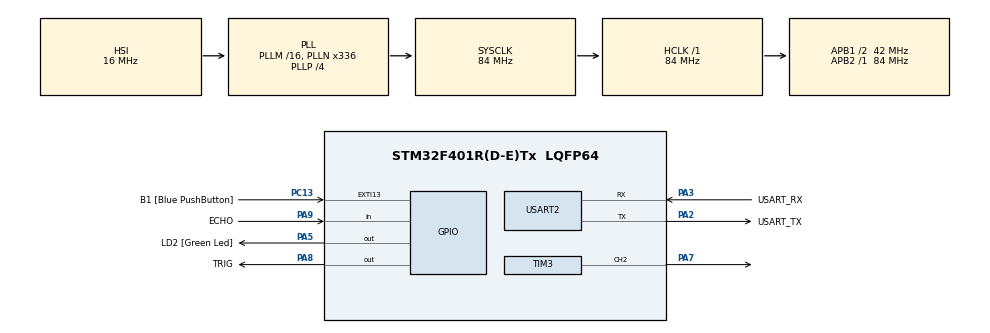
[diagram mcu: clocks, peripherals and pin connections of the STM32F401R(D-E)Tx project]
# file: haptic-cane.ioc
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Mcu.Family=STM32F4
Mcu.Name=STM32F401R(D-E)Tx
Mcu.Package=LQFP64
NVIC.PriorityGroup=NVIC_PRIORITYGROUP_0
PA13.GPIO_Label=TMS
PA13.Mode=Serial_Wire
PA13.Signal=SYS_JTMS-SWDIO
PA14.GPIO_Label=TCK
PA14.Mode=Serial_Wire
PA14.Signal=SYS_JTCK-SWCLK
PA2.GPIO_Label=USART_TX
PA2.GPIO_Mode=GPIO_MODE_AF_PP
PA2.GPIO_PuPd=GPIO_NOPULL
PA2.GPIO_Speed=GPIO_SPEED_FREQ_LOW
PA2.Mode=Asynchronous
PA2.Signal=USART2_TX
PA3.GPIO_Label=USART_RX
PA3.GPIO_Mode=GPIO_MODE_AF_PP
PA3.GPIO_PuPd=GPIO_NOPULL
PA3.GPIO_Speed=GPIO_SPEED_FREQ_LOW
PA3.Mode=Asynchronous
PA3.Signal=USART2_RX
PA5.GPIO_Label=LD2 [Green Led]
PA5.GPIO_Mode=GPIO_MODE_OUTPUT_PP
PA5.GPIO_PuPd=GPIO_NOPULL
PA5.GPIO_Speed=GPIO_SPEED_FREQ_LOW
PA5.Signal=GPIO_Output
PA7.Signal=S_TIM3_CH2
PA8.GPIO_Label=TRIG
PA8.Signal=GPIO_Output
PA9.GPIO_Label=ECHO
PA9.Signal=GPIO_Input
PB3.GPIO_Label=SWO
PB3.Signal=SYS_JTDO-SWO
PC13-ANTI_TAMP.GPIO_Label=B1 [Blue PushButton]
PC13-ANTI_TAMP.GPIO_ModeDefaultEXTI=GPIO_MODE_IT_FALLING
PC13-ANTI_TAMP.GPIO_PuPd=GPIO_NOPULL
PC13-ANTI_TAMP.Signal=GPXTI13
PC14-OSC32_IN.Mode=LSE-External-Oscillator
PC14-OSC32_IN.Signal=RCC_OSC32_IN
PC15-OSC32_OUT.Mode=LSE-External-Oscillator
PC15-OSC32_OUT.Signal=RCC_OSC32_OUT
PH0\ -\ OSC_IN.Mode=HSE-External-Clock-Source
PH0\ -\ OSC_IN.Signal=RCC_OSC_IN
PH1\ -\ OSC_OUT.Mode=HSE-External-Clock-Source
PH1\ -\ OSC_OUT.Signal=RCC_OSC_OUT
ProjectManager.HeapSize=0x200
ProjectManager.StackSize=0x400
ProjectManager.TargetToolchain=STM32CubeIDE
RCC.48MHZClocksFreq_Value=48000000
RCC.AHBFreq_Value=84000000
RCC.APB1CLKDivider=RCC_HCLK_DIV2
RCC.APB1Freq_Value=42000000
RCC.APB1TimFreq_Value=84000000
RCC.APB2Freq_Value=84000000
RCC.APB2TimFreq_Value=84000000
RCC.CortexFreq_Value=84000000
RCC.HCLKFreq_Value=84000000
RCC.HSE_VALUE=8000000
RCC.HSI_VALUE=16000000
RCC.PLLN=336
RCC.PLLP=RCC_PLLP_DIV4
RCC.PLLQ=7
RCC.SYSCLKFreq_VALUE=84000000
RCC.SYSCLKSource=RCC_SYSCLKSOURCE_PLLCLK
RCC.VCOOutputFreq_Value=336000000
SH.S_TIM3_CH2.0=TIM3_CH2,PWM Generation2 CH2
TIM3.Channel-PWM\ Generation2\ CH2=TIM_CHANNEL_2
TIM3.Period=33000-1
TIM3.Prescaler=2-1
TIM4.Prescaler=84-1
USART2.VirtualMode=VM_ASYNC
VP_TIM4_VS_ClockSourceINT.Mode=Internal
board=NUCLEO-F401RE

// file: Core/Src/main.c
/* USER CODE BEGIN Header */
/**
  ******************************************************************************
  * @file           : main.c
  * @brief          : Main program body
  ******************************************************************************
  * @attention
  *
  * Copyright (c) 2023 STMicroelectronics.
  * All rights reserved.
  *
  * This software is licensed under terms that can be found in the LICENSE file
  * in the root directory of this software component.
  * If no LICENSE file comes with this software, it is provided AS-IS.
  *
  ******************************************************************************
  */
/* USER CODE END Header */
#include "main.h"

/* USER CODE BEGIN Includes */
#include <string.h>
#include <stdio.h>
/* USER CODE END Includes */

/* USER CODE BEGIN PTD */
#define usTIM TIM4
/* USER CODE END PTD */

TIM_HandleTypeDef htim3;
TIM_HandleTypeDef htim4;

UART_HandleTypeDef huart2;

void SystemClock_Config(void);
static void MX_GPIO_Init(void);
static void MX_USART2_UART_Init(void);
static void MX_TIM4_Init(void);
static void MX_TIM3_Init(void);
/* USER CODE BEGIN PFP */
void delay(uint16_t uSec);
void usDelay(uint32_t uSec);
/* USER CODE END PFP */

/* USER CODE BEGIN 0 */
//Define constant for speed of sound (cm/usec)
const float speedOfSound = 0.0343/2;
uint16_t distance = 0;
uint32_t on_counts = 0;
char uartBuf[100];

/* USER CODE END 0 */

int main(void)
{
  /* USER CODE BEGIN 1 */
  uint32_t numTicks = 0;
  /* USER CODE END 1 */

  /* MCU Configuration--------------------------------------------------------*/

  /* Reset of all peripherals, Initializes the Flash interface and the Systick. */
  HAL_Init();

  /* Configure the system clock */
  SystemClock_Config();

  /* Initialize all configured peripherals */
  MX_GPIO_Init();
  MX_USART2_UART_Init();
  MX_TIM4_Init();
  MX_TIM3_Init();
  /* USER CODE BEGIN 2 */
  HAL_TIM_Base_Start(&htim4);

  HAL_TIM_PWM_Start(&htim3, TIM_CHANNEL_2);
  /* USER CODE END 2 */

  /* Infinite loop */
  while (1)
  {

    /* USER CODE BEGIN 3 */
	  // Set TRIG to LOW for a few microseconds
	  HAL_GPIO_WritePin(TRIG_GPIO_Port, TRIG_Pin, GPIO_PIN_RESET);
	  usDelay(5);

	  //START Ultrasonic Measure Routine
	  //1. Initiate I/O by sending 10 usec to TRIG
	  HAL_GPIO_WritePin(TRIG_GPIO_Port, TRIG_Pin, GPIO_PIN_SET);
	  usDelay(10);
	  HAL_GPIO_WritePin(TRIG_GPIO_Port, TRIG_Pin, GPIO_PIN_RESET);

	  //2. Wait for ECHO pin rising edge
	  while(HAL_GPIO_ReadPin(ECHO_GPIO_Port, ECHO_Pin) == GPIO_PIN_RESET);

	  //3. Start measuring ECHO pulse width in usec
	  numTicks = 0;
	  while(HAL_GPIO_ReadPin(ECHO_GPIO_Port, ECHO_Pin) == GPIO_PIN_SET){
		  numTicks++;
		  usDelay(2); //2.8 usec
	  };

	  //4. Estimate distance in cm
	  distance = (numTicks)*2.8*speedOfSound;

	  //5. Print to UART terminal for debugging
	  sprintf(uartBuf, "Distance (cm) = %u\r\n", distance);
	  HAL_UART_Transmit(&huart2, (uint8_t *)uartBuf, strlen(uartBuf), 100);

	  // check if the distance is less than 300cm
	  if(distance < 300 && distance > 15)
	  {
		  //6. Calculate number of on counts for the timer
		  on_counts = 33000 - ((double)(distance/15)) - 1)*(double)(23100/19);

		  //7. set the compare register
		  __HAL_TIM_SET_COMPARE(&htim3, TIM_CHANNEL_2, on_counts);
	  }else
	  {
		  __HAL_TIM_SET_COMPARE(&htim3, TIM_CHANNEL_2, 0);
	  }

	  HAL_Delay(100);

  }
  /* USER CODE END 3 */
}

void SystemClock_Config(void)
{
  RCC_OscInitTypeDef RCC_OscInitStruct = {0};
  RCC_ClkInitTypeDef RCC_ClkInitStruct = {0};

  /** Configure the main internal regulator output voltage
  */
  __HAL_RCC_PWR_CLK_ENABLE();
  __HAL_PWR_VOLTAGESCALING_CONFIG(PWR_REGULATOR_VOLTAGE_SCALE2);

  /** Initializes the RCC Oscillators according to the specified parameters
  * in the RCC_OscInitTypeDef structure.
  */
  RCC_OscInitStruct.OscillatorType = RCC_OSCILLATORTYPE_HSI;
  RCC_OscInitStruct.HSIState = RCC_HSI_ON;
  RCC_OscInitStruct.HSICalibrationValue = RCC_HSICALIBRATION_DEFAULT;
  RCC_OscInitStruct.PLL.PLLState = RCC_PLL_ON;
  RCC_OscInitStruct.PLL.PLLSource = RCC_PLLSOURCE_HSI;
  RCC_OscInitStruct.PLL.PLLM = 16;
  RCC_OscInitStruct.PLL.PLLN = 336;
  RCC_OscInitStruct.PLL.PLLP = RCC_PLLP_DIV4;
  RCC_OscInitStruct.PLL.PLLQ = 7;
  if (HAL_RCC_OscConfig(&RCC_OscInitStruct) != HAL_OK)
  {
    Error_Handler();
  }

  /** Initializes the CPU, AHB and APB buses clocks
  */
  RCC_ClkInitStruct.ClockType = RCC_CLOCKTYPE_HCLK|RCC_CLOCKTYPE_SYSCLK
                              |RCC_CLOCKTYPE_PCLK1|RCC_CLOCKTYPE_PCLK2;
  RCC_ClkInitStruct.SYSCLKSource = RCC_SYSCLKSOURCE_PLLCLK;
  RCC_ClkInitStruct.AHBCLKDivider = RCC_SYSCLK_DIV1;
  RCC_ClkInitStruct.APB1CLKDivider = RCC_HCLK_DIV2;
  RCC_ClkInitStruct.APB2CLKDivider = RCC_HCLK_DIV1;

  if (HAL_RCC_ClockConfig(&RCC_ClkInitStruct, FLASH_LATENCY_2) != HAL_OK)
  {
    Error_Handler();
  }
}

static void MX_TIM3_Init(void)
{

  TIM_MasterConfigTypeDef sMasterConfig = {0};
  TIM_OC_InitTypeDef sConfigOC = {0};

  htim3.Instance = TIM3;
  htim3.Init.Prescaler = 2-1;
  htim3.Init.CounterMode = TIM_COUNTERMODE_UP;
  htim3.Init.Period = 33000-1;
  htim3.Init.ClockDivision = TIM_CLOCKDIVISION_DIV1;
  htim3.Init.AutoReloadPreload = TIM_AUTORELOAD_PRELOAD_DISABLE;
  if (HAL_TIM_PWM_Init(&htim3) != HAL_OK)
  {
    Error_Handler();
  }
  sMasterConfig.MasterOutputTrigger = TIM_TRGO_RESET;
  sMasterConfig.MasterSlaveMode = TIM_MASTERSLAVEMODE_DISABLE;
  if (HAL_TIMEx_MasterConfigSynchronization(&htim3, &sMasterConfig) != HAL_OK)
  {
    Error_Handler();
  }
  sConfigOC.OCMode = TIM_OCMODE_PWM1;
  sConfigOC.Pulse = 0;
  sConfigOC.OCPolarity = TIM_OCPOLARITY_HIGH;
  sConfigOC.OCFastMode = TIM_OCFAST_DISABLE;
  if (HAL_TIM_PWM_ConfigChannel(&htim3, &sConfigOC, TIM_CHANNEL_2) != HAL_OK)
  {
    Error_Handler();
  }
  HAL_TIM_MspPostInit(&htim3);

}

static void MX_TIM4_Init(void)
{

  TIM_ClockConfigTypeDef sClockSourceConfig = {0};
  TIM_MasterConfigTypeDef sMasterConfig = {0};

  htim4.Instance = TIM4;
  htim4.Init.Prescaler = 84-1;
  htim4.Init.CounterMode = TIM_COUNTERMODE_UP;
  htim4.Init.Period = 65535;
  htim4.Init.ClockDivision = TIM_CLOCKDIVISION_DIV1;
  htim4.Init.AutoReloadPreload = TIM_AUTORELOAD_PRELOAD_DISABLE;
  if (HAL_TIM_Base_Init(&htim4) != HAL_OK)
  {
    Error_Handler();
  }
  sClockSourceConfig.ClockSource = TIM_CLOCKSOURCE_INTERNAL;
  if (HAL_TIM_ConfigClockSource(&htim4, &sClockSourceConfig) != HAL_OK)
  {
    Error_Handler();
  }
  sMasterConfig.MasterOutputTrigger = TIM_TRGO_RESET;
  sMasterConfig.MasterSlaveMode = TIM_MASTERSLAVEMODE_DISABLE;
  if (HAL_TIMEx_MasterConfigSynchronization(&htim4, &sMasterConfig) != HAL_OK)
  {
    Error_Handler();
  }

}

static void MX_USART2_UART_Init(void)
{

  huart2.Instance = USART2;
  huart2.Init.BaudRate = 115200;
  huart2.Init.WordLength = UART_WORDLENGTH_8B;
  huart2.Init.StopBits = UART_STOPBITS_1;
  huart2.Init.Parity = UART_PARITY_NONE;
  huart2.Init.Mode = UART_MODE_TX_RX;
  huart2.Init.HwFlowCtl = UART_HWCONTROL_NONE;
  huart2.Init.OverSampling = UART_OVERSAMPLING_16;
  if (HAL_UART_Init(&huart2) != HAL_OK)
  {
    Error_Handler();
  }

}

static void MX_GPIO_Init(void)
{
  GPIO_InitTypeDef GPIO_InitStruct = {0};

  /* GPIO Ports Clock Enable */
  __HAL_RCC_GPIOC_CLK_ENABLE();
  __HAL_RCC_GPIOH_CLK_ENABLE();
  __HAL_RCC_GPIOA_CLK_ENABLE();
  __HAL_RCC_GPIOB_CLK_ENABLE();

  /*Configure GPIO pin Output Level */
  HAL_GPIO_WritePin(GPIOA, LD2_Pin|TRIG_Pin, GPIO_PIN_RESET);

  /*Configure GPIO pin : B1_Pin */
  GPIO_InitStruct.Pin = B1_Pin;
  GPIO_InitStruct.Mode = GPIO_MODE_IT_FALLING;
  GPIO_InitStruct.Pull = GPIO_NOPULL;
  HAL_GPIO_Init(B1_GPIO_Port, &GPIO_InitStruct);

  /*Configure GPIO pins : LD2_Pin TRIG_Pin */
  GPIO_InitStruct.Pin = LD2_Pin|TRIG_Pin;
  GPIO_InitStruct.Mode = GPIO_MODE_OUTPUT_PP;
  GPIO_InitStruct.Pull = GPIO_NOPULL;
  GPIO_InitStruct.Speed = GPIO_SPEED_FREQ_LOW;
  HAL_GPIO_Init(GPIOA, &GPIO_InitStruct);

  /*Configure GPIO pin : ECHO_Pin */
  GPIO_InitStruct.Pin = ECHO_Pin;
  GPIO_InitStruct.Mode = GPIO_MODE_INPUT;
  GPIO_InitStruct.Pull = GPIO_NOPULL;
  HAL_GPIO_Init(ECHO_GPIO_Port, &GPIO_InitStruct);

}

/* USER CODE BEGIN 4 */
void delay(uint16_t us){
	__HAL_TIM_SET_COUNTER(&htim4, 0);

	while((__HAL_TIM_GET_COUNTER(&htim4) < us));
}

void usDelay(uint32_t uSec)
{
	if(uSec < 2) uSec = 2;
	usTIM->ARR = uSec - 1;
	usTIM->EGR = 1;
	usTIM->SR &= ~1;
	usTIM->CR1 |= 1;
	while((usTIM->SR&0x0001) != 1);
	usTIM->SR &= ~(0x0001);
}

/* USER CODE END 4 */

void Error_Handler(void)
{
  __disable_irq();
  while (1)
  {
  }
}
